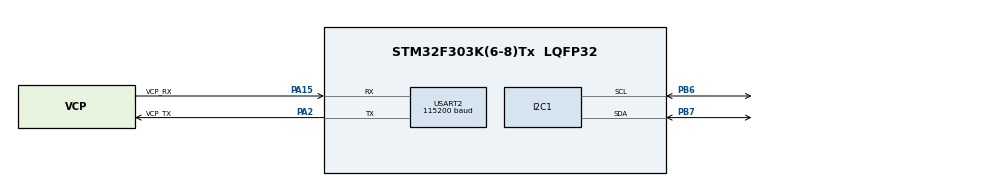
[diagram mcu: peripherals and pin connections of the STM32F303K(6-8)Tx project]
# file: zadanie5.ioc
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I2C1.Timing=0x00201D2B
Mcu.Family=STM32F3
Mcu.Name=STM32F303K(6-8)Tx
Mcu.Package=LQFP32
NVIC.I2C1_EV_IRQn=true\:0\:0\:false\:false\:true\:true\:true\:true
NVIC.PriorityGroup=NVIC_PRIORITYGROUP_4
PA13.GPIO_Label=SWDIO
PA13.Mode=Serial_Wire
PA13.Signal=SYS_JTMS-SWDIO
PA14.GPIO_Label=SWCLK
PA14.Mode=Serial_Wire
PA14.Signal=SYS_JTCK-SWCLK
PA15.GPIO_Label=VCP_RX
PA15.Mode=Asynchronous
PA15.Signal=USART2_RX
PA2.GPIO_Label=VCP_TX
PA2.Mode=Asynchronous
PA2.Signal=USART2_TX
PB6.Mode=I2C
PB6.Signal=I2C1_SCL
PB7.Mode=I2C
PB7.Signal=I2C1_SDA
PF0\ /\ OSC_IN.GPIO_Label=MCO
PF0\ /\ OSC_IN.Mode=HSE-External-Clock-Source
PF0\ /\ OSC_IN.Signal=RCC_OSC_IN
ProjectManager.HeapSize=0x200
ProjectManager.StackSize=0x400
ProjectManager.TargetToolchain=STM32CubeIDE
RCC.AHBFreq_Value=8000000
RCC.APB1Freq_Value=8000000
RCC.APB2Freq_Value=8000000
RCC.CortexFreq_Value=8000000
RCC.HSE_VALUE=8000000
RCC.HSI_VALUE=8000000
RCC.SYSCLKFreq_VALUE=8000000
USART2.BaudRate=115200
USART2.VirtualMode-Asynchronous=VM_ASYNC
board=NUCLEO-F303K8

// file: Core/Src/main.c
/* USER CODE BEGIN Header */
/**
  ******************************************************************************
  * @file           : main.c
  * @brief          : Main program body
  ******************************************************************************
  * @attention
  *
  * Copyright (c) 2026 STMicroelectronics.
  * All rights reserved.
  *
  * This software is licensed under terms that can be found in the LICENSE file
  * in the root directory of this software component.
  * If no LICENSE file comes with this software, it is provided AS-IS.
  *
  ******************************************************************************
  */
/* USER CODE END Header */
#include "main.h"
#include "i2c.h"
#include "usart.h"
#include "gpio.h"

/* USER CODE BEGIN Includes */
#include <stdio.h>
#include "hts221.h"
#include "lps25hb.h"
/* USER CODE END Includes */

void SystemClock_Config(void);

int main(void)
{

  /* MCU Configuration--------------------------------------------------------*/

  /* Reset of all peripherals, Initializes the Flash interface and the Systick. */
  LL_APB2_GRP1_EnableClock(LL_APB2_GRP1_PERIPH_SYSCFG);
  LL_APB1_GRP1_EnableClock(LL_APB1_GRP1_PERIPH_PWR);

  /* System interrupt init*/
  NVIC_SetPriorityGrouping(NVIC_PRIORITYGROUP_4);

  /* Configure the system clock */
  SystemClock_Config();

  /* Initialize all configured peripherals */
  MX_GPIO_Init();
  MX_USART2_UART_Init();
  MX_I2C1_Init();
  /* USER CODE BEGIN 2 */
  /* registracia callbackov: kniznice senzorov volaju I2C len cez tieto ukazovatele */
  hts221_register_callbacks(i2c_read, i2c_write);
  lps25hb_register_callbacks(i2c_read, i2c_write);

  LL_mDelay(100);                       /* senzory po zapnuti potrebuju chvilu */

  if (hts221_init() != 0)  usart2_send_string("HTS221 init ERROR\r\n");
  if (lps25hb_init() != 0) usart2_send_string("LPS25HB init ERROR\r\n");

  LL_mDelay(1100);                      /* pockaj na prve meranie (ODR = 1 Hz) */

  float p0 = 0.0f;                      /* referencny tlak = uroven "zeme" */
  lps25hb_read_pressure(&p0);

  float temperature = 0.0f, humidity = 0.0f, pressure = 0.0f, altitude = 0.0f;
  char  msg[64];
  /* USER CODE END 2 */

  /* Infinite loop */
  while (1)
  {

    /* USER CODE BEGIN 3 */
    hts221_read_temperature(&temperature);
    hts221_read_humidity(&humidity);
    lps25hb_read_pressure(&pressure);
    altitude = lps25hb_altitude(pressure, p0);

    /* CSV: teplota [C] xx.x, vlhkost [%] xx, tlak [hPa] xxxx.xx, vyska [m] xx.xx */
    snprintf(msg, sizeof(msg), "%04.1f,%02.0f,%07.2f,%05.2f\r\n",
             temperature, humidity, pressure, altitude);
    usart2_send_string(msg);

    LL_mDelay(1000);
  }
  /* USER CODE END 3 */
}

void SystemClock_Config(void)
{
  LL_FLASH_SetLatency(LL_FLASH_LATENCY_0);
  while(LL_FLASH_GetLatency()!= LL_FLASH_LATENCY_0)
  {
  }
  LL_RCC_HSI_Enable();

   /* Wait till HSI is ready */
  while(LL_RCC_HSI_IsReady() != 1)
  {

  }
  LL_RCC_HSI_SetCalibTrimming(16);
  LL_RCC_SetAHBPrescaler(LL_RCC_SYSCLK_DIV_1);
  LL_RCC_SetAPB1Prescaler(LL_RCC_APB1_DIV_1);
  LL_RCC_SetAPB2Prescaler(LL_RCC_APB2_DIV_1);
  LL_RCC_SetSysClkSource(LL_RCC_SYS_CLKSOURCE_HSI);

   /* Wait till System clock is ready */
  while(LL_RCC_GetSysClkSource() != LL_RCC_SYS_CLKSOURCE_STATUS_HSI)
  {

  }
  LL_Init1msTick(8000000);
  LL_SetSystemCoreClock(8000000);
  LL_RCC_SetI2CClockSource(LL_RCC_I2C1_CLKSOURCE_HSI);
}

void Error_Handler(void)
{
  __disable_irq();
  while (1)
  {
  }
}
